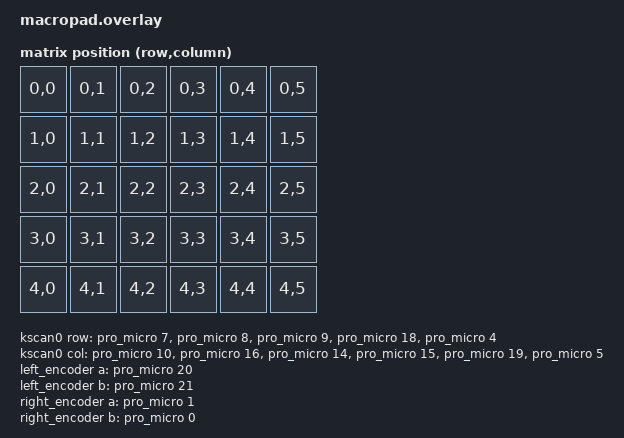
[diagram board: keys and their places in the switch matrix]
#include <dt-bindings/zmk/matrix_transform.h>

#include <layouts/common/ortho_4x12/all1u.dtsi>

/ {
    chosen {
        zmk,kscan = &kscan0;
        zmk,physical-layout = &layout_ortho_4x12_all1u;
    };

    matrix_transform_40_all1u: keymap_transform_0 {
        compatible = "zmk,matrix-transform";
        columns = <6>;   /* 4 normal + 2 for encoder btns */
        rows = <5>;      /* 3 normal + 2 encoder button rows */
        map = <
            /* Row 0 */ RC(0,0) RC(0,1) RC(0,2) RC(0,3) RC(0,4) RC(0,5)
            /* Row 1 */ RC(1,0) RC(1,1) RC(1,2) RC(1,3) RC(1,4) RC(1,5)
            /* Row 2 */ RC(2,0) RC(2,1) RC(2,2) RC(2,3) RC(2,4) RC(2,5)
            /* Row 3 */ RC(3,0) RC(3,1) RC(3,2) RC(3,3) RC(3,4) RC(3,5)
            /* Row 4 */ RC(4,0) RC(4,1) RC(4,2) RC(4,3) RC(4,4) RC(4,5)
        >;
    };

    kscan0: kscan_0 {
        compatible = "zmk,kscan-gpio-matrix";
        wakeup-source;
        diode-direction = "col2row";

        /* ----- 6 COLUMNS (4 normal + 2 extra for encoder buttons) ----- */
        col-gpios = 
            <&pro_micro 10 GPIO_ACTIVE_HIGH>,  /* C0 -> D10 */
            <&pro_micro 16 GPIO_ACTIVE_HIGH>,  /* C1 -> D16 */
            <&pro_micro 14 GPIO_ACTIVE_HIGH>,  /* C2 -> D14 */
            <&pro_micro 15 GPIO_ACTIVE_HIGH>,  /* C3 -> D15 */
            <&pro_micro 19 GPIO_ACTIVE_HIGH>,  /* C4 -> Left Encoder Btn second pin */
            <&pro_micro 5 GPIO_ACTIVE_HIGH>;  /* C5 -> Right Encoder Btn second pin */

        /* ----- 5 ROWS (3 normal + 2 encoder buttons) ----- */
        row-gpios =
            <&pro_micro 7  (GPIO_ACTIVE_HIGH | GPIO_PULL_DOWN)>,  /* R0 -> D7 */
            <&pro_micro 8  (GPIO_ACTIVE_HIGH | GPIO_PULL_DOWN)>,  /* R1 -> D8 */
            <&pro_micro 9  (GPIO_ACTIVE_HIGH | GPIO_PULL_DOWN)>,  /* R2 -> D9 */
            <&pro_micro 18 (GPIO_ACTIVE_HIGH | GPIO_PULL_DOWN)>,  /* R3 -> Left Encoder Btn first pin */
            <&pro_micro 4 (GPIO_ACTIVE_HIGH | GPIO_PULL_DOWN)>;  /* R4 -> Right Encoder Btn first pin */
    };


    left_encoder: encoder_left {
        compatible = "alps,ec11";
        a-gpios = <&pro_micro 20 (GPIO_ACTIVE_HIGH | GPIO_PULL_UP)>;
        b-gpios = <&pro_micro 21 (GPIO_ACTIVE_HIGH | GPIO_PULL_UP)>;
        steps = <80>;
        status = "okay";
    };

    right_encoder: encoder_right {
        compatible = "alps,ec11";
        a-gpios = <&pro_micro 1 (GPIO_ACTIVE_HIGH | GPIO_PULL_UP)>;
        b-gpios = <&pro_micro 0 (GPIO_ACTIVE_HIGH | GPIO_PULL_UP)>;
        steps = <80>;
        status = "okay";
    };

    sensors: sensors {
        compatible = "zmk,keymap-sensors";
        sensors = <&left_encoder &right_encoder>;
        triggers-per-rotation = <20>;
    };
};

&layout_ortho_4x12_all1u {
    transform = <&matrix_transform_40_all1u>;
};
